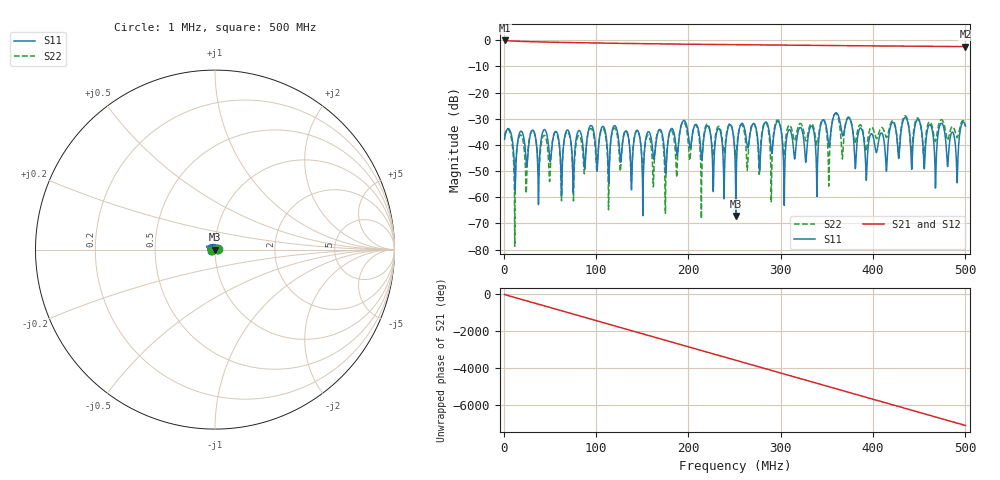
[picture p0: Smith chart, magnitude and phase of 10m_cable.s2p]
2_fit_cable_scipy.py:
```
import matplotlib.pyplot as plt
import logging
import skrf as rf

from pmrf.core import CoaxialLine
from parax.parameters import Uniform, RelativeNormal, Fixed
from pmrf.fitting import SciPyMinimizeFitter

logging.basicConfig(level=logging.INFO)

# Load the measured data.
measured = rf.Network('data/10m_cable.s2p', f_unit='MHz')

# Setup the model. Note that any parameters not passed
# are set as free with infinite bounds
model = CoaxialLine(
    din = RelativeNormal(1.12, 0.05, scale=1e-3),
    dout = RelativeNormal(3.2, 0.05, scale=1e-3),
    epr = Fixed(1.384),
    rho = RelativeNormal(1.6, 0.05, scale=1e-8),
    tand = Uniform(0.0, 0.01, value=0.0, scale=0.01),
    length = RelativeNormal(10.0, 0.05),
    mur = Fixed(1.0),
)

# Initialize the fitter
fitter = SciPyMinimizeFitter(model)

# Run the fit and plot some results
fitted_model, fit_results = fitter.run(measured)
fit_results.plot_s_db()
plt.show()
```
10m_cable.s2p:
! MS46122B
! 1746301/73750021
! 11/1/2023 4:11:00 PM
! C:\USERS\SPEGWAL\DOWNLOADS\SAURABH\REACH\NODES\FRONT END\MEASUREMENTS\MEASURED S-PARAMETERS_01-11-2023\CABLES\10M_P1A1-P2A2.S2P
! CHANNEL.1
! TR.MEASUREMENT
! CORRECTED.DATA
# GHZ S RI R 50.0
! FREQ.GHZ  S11RE  S11IM  S21RE  S21IM  S12RE  S12IM  S22RE  S22IM
!; PortSelection: Port_12
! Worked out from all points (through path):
!   2001 points, 1 MHz to 500 MHz, reference 50 ohm
!   highest |S21| = -0.10 dB at 1.25 MHz (marker M1); lowest = -2.4 dB at 500 MHz (marker M2)
!   group delay of S21, straight-line fit = 39.6 ns
!   lowest |S11| = -67.1 dB at 251.5 MHz (marker M3), VSWR 1.00, Z = 50 - j0.0439 ohm
!   |S11| at or under -10 dB: start of sweep to end of sweep
!   |S22| runs from -78.7 to -28.0 dB; largest |S21 - S12| = 0.0043
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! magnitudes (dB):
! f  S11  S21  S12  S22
! 1 MHz  -37.9  -0.1  -0.1  -36.7
! 1.25 MHz  -37.1  -0.1  -0.1  -36.2
! 11.98 MHz  -53.7  -0.4  -0.4  -78.7
! 31.19 MHz  -34.4  -0.6  -0.6  -34.4
! 175.2 MHz  -49.7  -1.4  -1.4  -66.1
! 195.1 MHz  -30.6  -1.5  -1.5  -31.3
! 250.5 MHz  -45.0  -1.7  -1.7  -42.5
! 251.5 MHz  -67.1  -1.7  -1.7  -44.9
! 258 MHz  -31.8  -1.7  -1.7  -32.3
! 303.9 MHz  -63.1  -1.9  -1.9  -43.3
! 500 MHz  -32.8  -2.4  -2.4  -32.6
